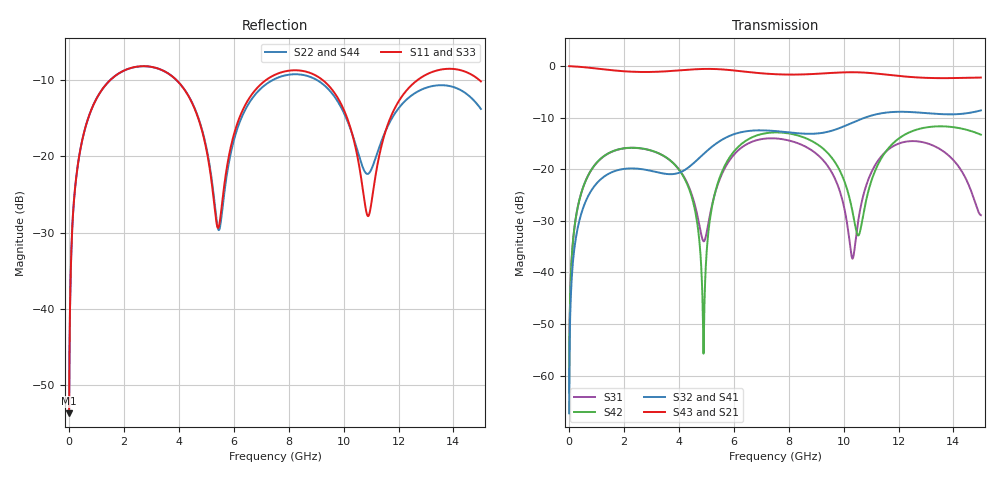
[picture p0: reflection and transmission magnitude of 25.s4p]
! Created with skrf 1.8.0 (http://scikit-rf.org).
# GHz S RI R 50.0
!freq ReS11 ImS11 ReS12 ImS12 ReS13 ImS13
! ReS14 ImS14
! ReS21 ImS21 ReS22 ImS22 ReS23 ImS23
! ReS24 ImS24
! ReS31 ImS31 ReS32 ImS32 ReS33 ImS33
! ReS34 ImS34
! ReS41 ImS41 ReS42 ImS42 ReS43 ImS43
! ReS44 ImS44
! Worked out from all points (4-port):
!   2499 points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, 5 MHz to 15 GHz, reference 50 ohm
!   strongest paths, dB at 5 MHz, 3.476 GHz, 7.19 GHz, 11.1 GHz, 15 GHz:
!     S43: 0.0, -1.0, -1.5, -1.4, -2.2
!     S21: 0.0, -1.0, -1.5, -1.4, -2.2
!     S32: -67.3, -20.9, -12.5, -9.5, -8.6
!     S41: -67.3, -21.0, -12.6, -9.5, -8.6
!     S42: -63.2, -17.5, -13.0, -21.0, -13.3
!     S31: -63.2, -17.5, -14.0, -19.7, -28.9
!   lowest |S11| = -53.7 dB at 5 MHz (marker M1), VSWR 1.00, Z = 50.2 + j0.125 ohm
!   |S11| at or under -10 dB: start of sweep to 1.495 GHz; 3.921 GHz to 7.164 GHz (3.243 GHz wide, 58.5 % of centre); 9.248 GHz to 12.68 GHz (3.435 GHz wide, 31.3 % of centre) (the widest 3 of 4)
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0.005  0.00165 0.00125  0.9983 -0.00321  8.38e-05 0.000683  -8.12e-05 -0.000423
       0.9983 -0.00321  0.00165 0.00125  -8.12e-05 -0.000423  8.38e-05 0.000683
       8.38e-05 0.000683  -8.12e-05 -0.000423  0.00165 0.00125  0.9983 -0.00321
       -8.12e-05 -0.000423  8.38e-05 0.000683  0.9983 -0.00321  0.00165 0.00125
0.3626511  0.0305 0.0934  0.9579 -0.2294  0.015 0.0461  -0.0124 -0.028
           0.9579 -0.2294  0.0304 0.0935  -0.0124 -0.028  0.0151 0.046
           0.015 0.0461  -0.0124 -0.028  0.0305 0.0935  0.9579 -0.2294
           -0.0124 -0.028  0.0151 0.046  0.9579 -0.2294  0.0305 0.0935
1.67  0.2929 0.1658  0.4956 -0.7585  0.1406 0.0572  -0.0958 0.00295
      0.4956 -0.7585  0.2923 0.1663  -0.0961 0.00333  0.1417 0.0555
      0.1406 0.0572  -0.0961 0.00333  0.2927 0.166  0.4957 -0.7585
      -0.0958 0.00295  0.1417 0.0555  0.4957 -0.7585  0.2925 0.1661
4.899091  0.0681 -0.1169  -0.8629 -0.3685  -0.0189 -0.00673  -0.0531 0.1299
          -0.8629 -0.3685  0.0692 -0.1193  -0.0491 0.1316  -0.0016 -0.000356
          -0.0189 -0.00673  -0.0491 0.1316  0.0692 -0.1166  -0.8628 -0.3687
          -0.0531 0.1299  -0.0016 -0.000356  -0.8628 -0.3687  0.0683 -0.1198
6.38391  0.1521 0.1469  -0.7813 0.4147  0.1087 0.1297  0.1405 0.1831
         -0.7813 0.4147  0.1384 0.14  0.1465 0.1798  0.1493 0.1085
         0.1087 0.1297  0.1465 0.1798  0.1512 0.1454  -0.7815 0.4144
         0.1405 0.1831  0.1493 0.1085  -0.7815 0.4144  0.1389 0.1404
10.89829  0.0406 -0.00132  0.8477 0.1444  -0.00204 0.0792  0.055 -0.3202
          0.8477 0.1444  0.0771 0.00125  0.0345 -0.3227  0.00735 0.0604
          -0.00204 0.0792  0.0345 -0.3227  0.0459 -0.00104  0.8479 0.1443
          0.055 -0.3202  0.00735 0.0604  0.8479 0.1443  0.0713 0.00289
15  0.2661 -0.161  -0.3746 -0.6751  0.0308 0.0184  -0.3253 0.1769
    -0.3746 -0.6751  0.1979 -0.0541  -0.3085 0.2079  -0.0728 -0.2039
    0.0308 0.0184  -0.3085 0.2079  0.261 -0.1534  -0.3769 -0.6764
    -0.3253 0.1769  -0.0728 -0.2039  -0.3769 -0.6764  0.1844 -0.0638
